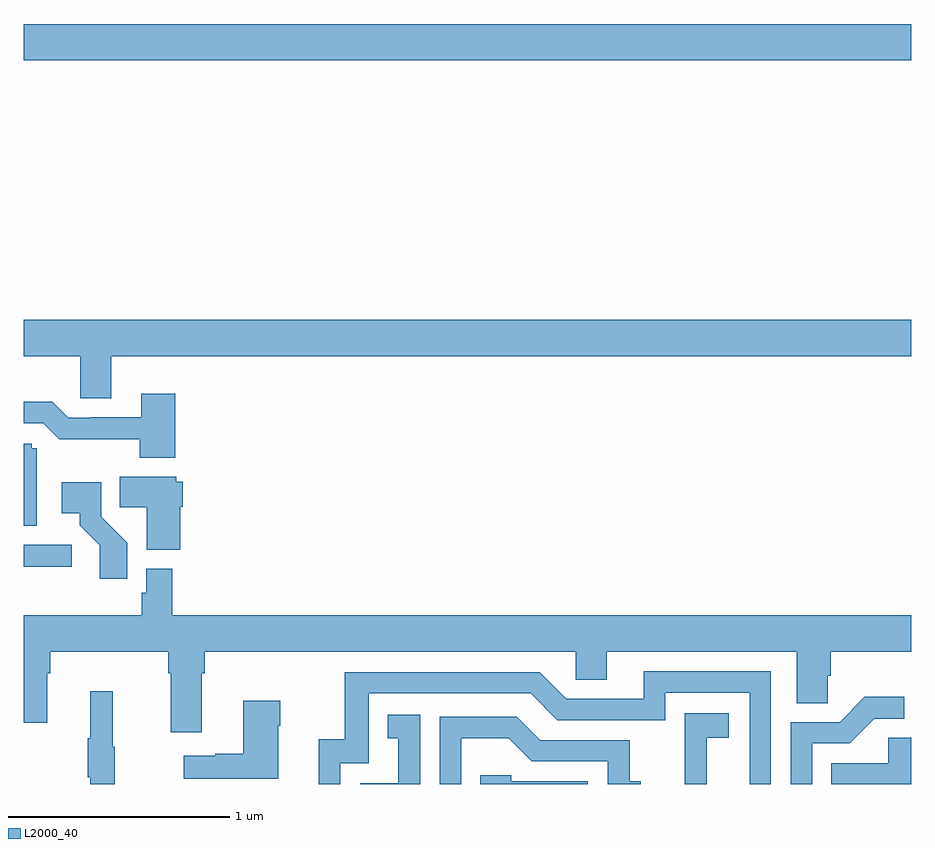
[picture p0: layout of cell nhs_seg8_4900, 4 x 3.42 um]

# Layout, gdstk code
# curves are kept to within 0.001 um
import gdstk
lib = gdstk.Library(unit=1e-6, precision=1e-09)
def R(c, l, rs):  # rectangles x0, y0, x1, y1
    for r in rs: c.add(gdstk.rectangle(r[:2], r[2:], *l))
def P(c, l, *ps):  # polygons
    for p in ps: c.add(gdstk.Polygon(p, *l))
L2000_40 = (2000, 40)

nhs_seg8_4900 = lib.new_cell('nhs_seg8_4900')
R(nhs_seg8_4900, L2000_40, [(407,1120.879,407.218,1120.977), (407,1123.16,411,1123.324)])
P(nhs_seg8_4900, L2000_40, [(407.395,1121.828),(411,1121.828),(411,1121.992),(407,1121.992),(407,1121.828),(407.256,1121.828),(407.256,1121.638),(407.395,1121.638)],
  [(407.684,1121.659),(407.531,1121.659),(407.531,1121.553),(407.302,1121.553),(407.302,1121.55),(407.202,1121.55),(407.129,1121.623),(407,1121.623),(407,1121.526),(407.088,1121.526),(407.161,1121.453),(407.524,1121.454),(407.524,1121.369),(407.684,1121.369)],
  [(407.059,1121.412),(407.037,1121.412),(407.037,1121.433),(407,1121.433),(407,1121.064),(407.059,1121.064)],
  [(407.705,1121.148),(407.717,1121.148),(407.717,1121.262),(407.688,1121.262),(407.688,1121.284),(407.434,1121.284),(407.434,1121.146),(407.555,1121.146),(407.555,1120.955),(407.705,1120.955)],
  [(407.468,1120.986),(407.349,1121.105),(407.349,1121.26),(407.172,1121.26),(407.172,1121.12),(407.252,1121.12),(407.252,1121.065),(407.343,1120.975),(407.343,1120.824),(407.468,1120.824)],
  [(407.803,1120.4),(407.816,1120.4),(407.816,1120.496),(409.488,1120.496),(409.488,1120.369),(409.627,1120.369),(409.627,1120.496),(410.483,1120.496),(410.483,1120.264),(410.622,1120.264),(410.622,1120.387),(410.636,1120.387),(410.636,1120.496),(411,1120.496),(411,1120.66),(407.669,1120.66),(407.669,1120.87),(407.553,1120.87),(407.553,1120.761),(407.533,1120.761),(407.533,1120.66),(407,1120.66),(407,1120.176),(407.107,1120.176),(407.107,1120.4),(407.12,1120.4),(407.12,1120.496),(407.651,1120.496),(407.651,1120.4),(407.663,1120.4),(407.663,1120.134),(407.803,1120.134)],
  [(408.426,1119.993),(408.555,1119.993),(408.555,1120.308),(409.284,1120.308),(409.404,1120.188),(409.89,1120.188),(409.89,1120.311),(410.271,1120.311),(410.271,1119.9),(410.367,1119.9),(410.367,1120.407),(409.793,1120.407),(409.793,1120.284),(409.446,1120.284),(409.326,1120.404),(408.447,1120.404),(408.447,1120.102),(408.329,1120.102),(408.329,1119.9),(408.426,1119.9)],
  [(407.41,1120.068),(407.402,1120.068),(407.402,1120.318),(407.3,1120.318),(407.3,1120.105),(407.289,1120.105),(407.289,1119.931),(407.3,1119.931),(407.3,1119.9),(407.41,1119.9)],
  [(410.553,1120.083),(410.722,1120.083),(410.833,1120.194),(410.968,1120.194),(410.968,1120.292),(410.789,1120.292),(410.676,1120.179),(410.457,1120.179),(410.457,1119.9),(410.553,1119.9)],
  [(408.148,1120.163),(408.156,1120.163),(408.156,1120.276),(407.99,1120.276),(407.99,1120.037),(407.864,1120.037),(407.864,1120.027),(407.721,1120.027),(407.721,1119.923),(408.148,1119.923)],
  [(410.078,1120.109),(410.176,1120.109),(410.176,1120.219),(409.978,1120.219),(409.978,1120.013),(409.979,1120.013),(409.979,1119.9),(410.078,1119.9)],
  [(408.786,1120.213),(408.64,1120.213),(408.64,1120.107),(408.689,1120.107),(408.689,1119.903),(408.516,1119.903),(408.516,1119.9),(408.786,1119.9)],
  [(408.972,1120.106),(409.186,1120.106),(409.29,1120.002),(409.632,1120.002),(409.632,1119.9),(409.78,1119.9),(409.78,1119.913),(409.731,1119.913),(409.731,1120.098),(409.327,1120.098),(409.222,1120.203),(408.876,1120.203),(408.876,1119.9),(408.972,1119.9)],
  [(411,1120.109),(410.895,1120.109),(410.895,1119.994),(410.638,1119.994),(410.638,1119.9),(411,1119.9)],
  [(409.542,1119.912),(409.197,1119.912),(409.197,1119.939),(409.057,1119.939),(409.057,1119.9),(409.542,1119.9)])

lib.write_gds('nhs_seg8_4900.gds')
